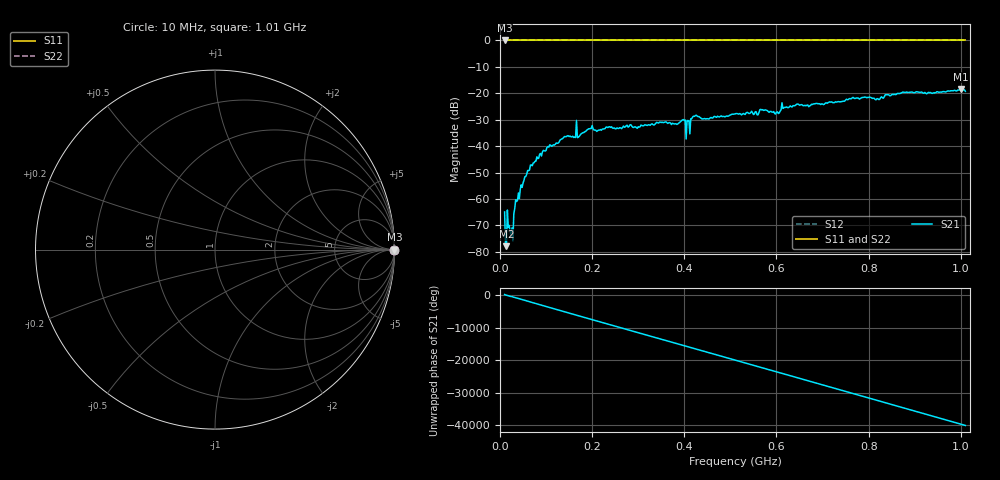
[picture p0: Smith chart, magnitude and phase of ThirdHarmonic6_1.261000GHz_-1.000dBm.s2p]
! 8/16/2025 1:34:00 PM
! C:\ANRITSUVNA\TEMP\TEMP.S2P
! CHANNEL.1
! TR.MEASUREMENT
! RAW.DATA
! RF.CORRECTION.OFF
! AVERAGING.OFF
! IF.BANDWIDTH: 5KHZ
! SWEEPTYPE:  FREQ.SWEEP(Linear)
! Reference Plane Port Info
! PORT:  PORT1  PORT2
! DISTANCE:  0  m  0  m
! TIME:  0  s  0  s
! PHASE.OFFSET:  0  deg.  0  deg.
! LOSS:  0  dB  0  dB
! REF.LOSS:  0  dB  0  dB
! REF.FREQ:  0  Hz  0  Hz
! Power Info
! POWER:  -20  dBm  -20  dBm
! EFF.POWER:  -20  dBm  -20  dBm
! SOURCE.ATTEN:  0  dB  0  dB
! TEST.ATTEN:  0  dB  0  dB
# GHZ S RI R 50.0
! FREQ.GHZ  S11RE  S11IM  S21RE  S21IM  S12RE  S12IM  S22RE  S22IM
!; PortSelection: Port_12
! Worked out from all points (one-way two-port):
!   501 points, 10 MHz to 1.01 GHz, reference 50 ohm
!   highest |S21| = -18.35 dB at 1 GHz (marker M1); lowest = -77.9 dB at 14 MHz (marker M2)
!   lowest |S11| = 0.0 dB at 10 MHz (marker M3)
!   |S11| at or under -10 dB: nowhere
!   |S22| runs from 0.0 to 0.0 dB; largest |S21 - S12| = 1.1
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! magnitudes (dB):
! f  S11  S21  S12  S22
! 10 MHz  0.0  -64.9  0.0  0.0
! 14 MHz  0.0  -77.9  0.0  0.0
! 20 MHz  0.0  -70.0  0.0  0.0
! 24 MHz  0.0  -74.2  0.0  0.0
! 28 MHz  0.0  -75.7  0.0  0.0
! 36 MHz  0.0  -61.0  0.0  0.0
! 56 MHz  0.0  -51.5  0.0  0.0
! 70 MHz  0.0  -47.4  0.0  0.0
! 106 MHz  0.0  -40.4  0.0  0.0
! 178 MHz  0.0  -35.1  0.0  0.0
! 196 MHz  0.0  -33.4  0.0  0.0
! 344 MHz  0.0  -31.3  0.0  0.0
! 398 MHz  0.0  -29.9  0.0  0.0
! 408 MHz  0.0  -30.5  0.0  0.0
! 422 MHz  0.0  -28.7  0.0  0.0
! 510 MHz  0.0  -27.8  0.0  0.0
! 602 MHz  0.0  -27.0  0.0  0.0
! 616 MHz  0.0  -25.5  0.0  0.0
! 678 MHz  0.0  -24.3  0.0  0.0
! 844 MHz  0.0  -20.6  0.0  0.0
! 1 GHz  0.0  -18.3  0.0  0.0
! 1.01 GHz  0.0  -19.3  0.0  0.0
